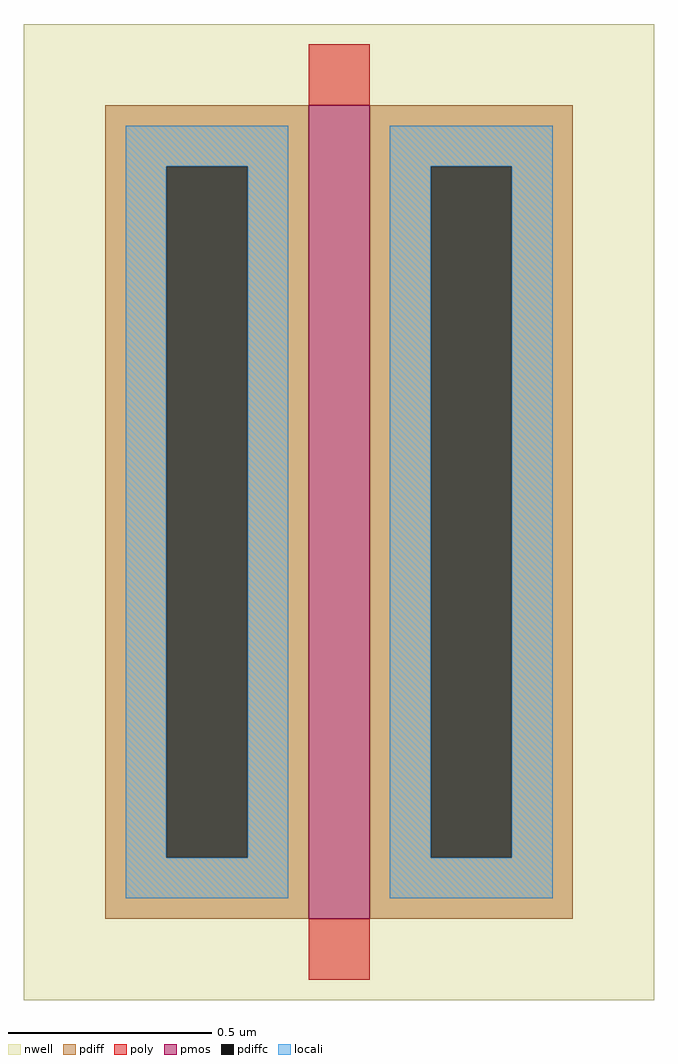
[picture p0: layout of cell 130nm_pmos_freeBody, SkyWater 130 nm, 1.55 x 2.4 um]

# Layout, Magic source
magic
tech sky130A
<< nwell >>
rect -90 -225 65 15
<< pmos >>
rect -20 -205 -5 -5
<< pdiff >>
rect -70 -20 -20 -5
rect -70 -190 -55 -20
rect -35 -190 -20 -20
rect -70 -205 -20 -190
rect -5 -20 45 -5
rect -5 -190 10 -20
rect 30 -190 45 -20
rect -5 -205 45 -190
<< pdiffc >>
rect -55 -190 -35 -20
rect 10 -190 30 -20
<< poly >>
rect -20 -5 -5 10
rect -20 -220 -5 -205
<< locali >>
rect -65 -20 -25 -10
rect -65 -190 -55 -20
rect -35 -190 -25 -20
rect -65 -200 -25 -190
rect 0 -20 40 -10
rect 0 -190 10 -20
rect 30 -190 40 -20
rect 0 -200 40 -190
<< end >>
